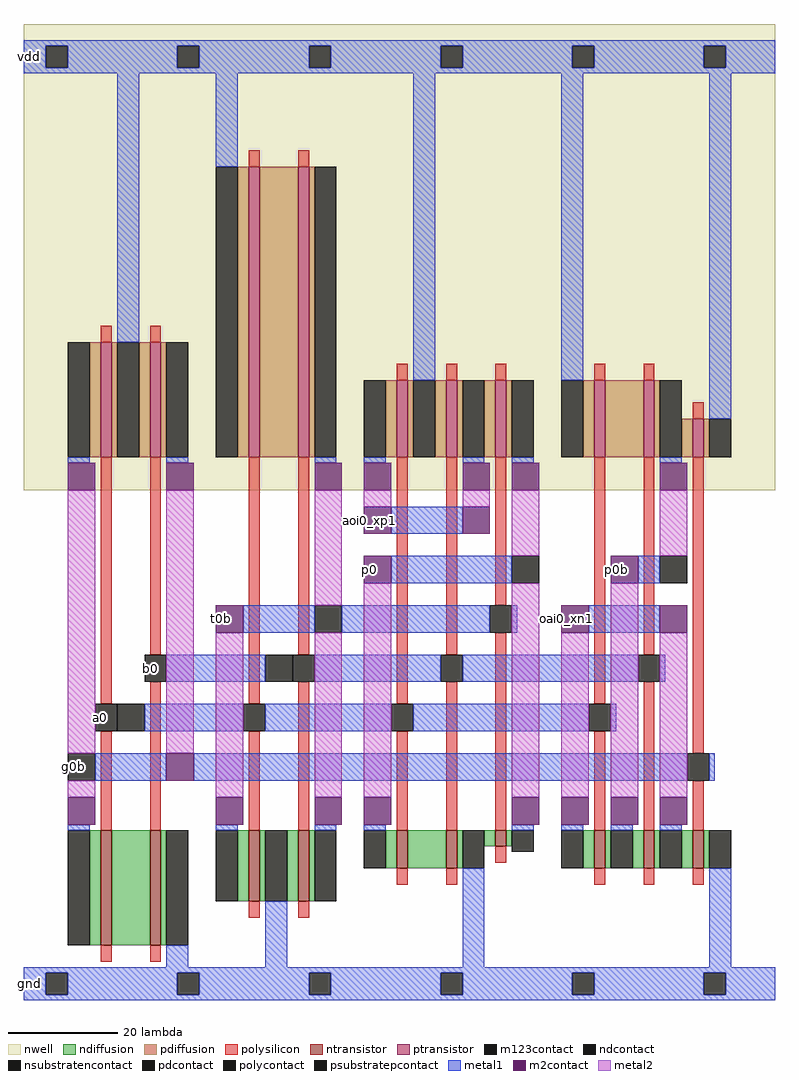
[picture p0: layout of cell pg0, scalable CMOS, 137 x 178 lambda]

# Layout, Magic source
magic
tech scmos
<< nwell >>
rect 0 93 137 178
<< ntransistor >>
rect 14 10 16 31
rect 23 10 25 31
rect 41 18 43 31
rect 50 18 52 31
rect 68 24 70 31
rect 77 24 79 31
rect 86 28 88 31
rect 104 24 106 31
rect 113 24 115 31
rect 122 24 124 31
<< ptransistor >>
rect 14 99 16 120
rect 23 99 25 120
rect 41 99 43 152
rect 50 99 52 152
rect 68 99 70 113
rect 77 99 79 113
rect 86 99 88 113
rect 104 99 106 113
rect 113 99 115 113
rect 122 99 124 106
<< ndiffusion >>
rect 12 10 14 31
rect 16 10 23 31
rect 25 10 26 31
rect 39 18 41 31
rect 43 18 44 31
rect 48 18 50 31
rect 52 18 53 31
rect 66 24 68 31
rect 70 24 77 31
rect 79 24 80 31
rect 84 28 86 31
rect 88 28 89 31
rect 102 24 104 31
rect 106 24 107 31
rect 111 24 113 31
rect 115 24 116 31
rect 120 24 122 31
rect 124 24 125 31
<< pdiffusion >>
rect 12 99 14 120
rect 16 99 17 120
rect 21 99 23 120
rect 25 99 26 120
rect 39 99 41 152
rect 43 99 50 152
rect 52 99 53 152
rect 66 99 68 113
rect 70 99 71 113
rect 75 99 77 113
rect 79 99 80 113
rect 84 99 86 113
rect 88 99 89 113
rect 102 99 104 113
rect 106 99 113 113
rect 115 99 116 113
rect 120 99 122 106
rect 124 99 125 106
<< ndcontact >>
rect 8 10 12 31
rect 26 10 30 31
rect 35 18 39 31
rect 44 18 48 31
rect 53 18 57 31
rect 62 24 66 31
rect 80 24 84 31
rect 89 27 93 31
rect 98 24 102 31
rect 107 24 111 31
rect 116 24 120 31
rect 125 24 129 31
<< pdcontact >>
rect 8 99 12 120
rect 17 99 21 120
rect 26 99 30 120
rect 35 99 39 152
rect 53 99 57 152
rect 62 99 66 113
rect 71 99 75 113
rect 80 99 84 113
rect 89 99 93 113
rect 98 99 102 113
rect 116 99 120 113
rect 125 99 129 106
<< psubstratepcontact >>
rect 4 1 8 5
rect 28 1 32 5
rect 52 1 56 5
rect 76 1 80 5
rect 100 1 104 5
rect 124 1 128 5
<< nsubstratencontact >>
rect 4 170 8 174
rect 28 170 32 174
rect 52 170 56 174
rect 76 170 80 174
rect 100 170 104 174
rect 124 170 128 174
<< polysilicon >>
rect 41 152 43 155
rect 50 152 52 155
rect 14 120 16 123
rect 23 120 25 123
rect 68 113 70 116
rect 77 113 79 116
rect 86 113 88 116
rect 104 113 106 116
rect 113 113 115 116
rect 122 106 124 109
rect 14 54 16 99
rect 23 63 25 99
rect 14 31 16 49
rect 23 31 25 58
rect 41 54 43 99
rect 50 63 52 99
rect 41 31 43 49
rect 50 31 52 58
rect 68 54 70 99
rect 77 63 79 99
rect 86 72 88 99
rect 68 31 70 49
rect 77 31 79 58
rect 86 31 88 67
rect 104 54 106 99
rect 113 63 115 99
rect 104 31 106 49
rect 113 31 115 58
rect 122 45 124 99
rect 122 31 124 40
rect 86 25 88 28
rect 68 21 70 24
rect 77 21 79 24
rect 104 21 106 24
rect 113 21 115 24
rect 122 21 124 24
rect 41 15 43 18
rect 50 15 52 18
rect 14 7 16 10
rect 23 7 25 10
<< polycontact >>
rect 22 58 26 63
rect 13 49 17 54
rect 49 58 53 63
rect 40 49 44 54
rect 85 67 89 72
rect 76 58 80 63
rect 67 49 71 54
rect 112 58 116 63
rect 103 49 107 54
rect 121 40 125 45
<< metal1 >>
rect 0 174 137 175
rect 0 170 4 174
rect 8 170 28 174
rect 32 170 52 174
rect 56 170 76 174
rect 80 170 100 174
rect 104 170 124 174
rect 128 170 137 174
rect 0 169 137 170
rect 17 120 21 169
rect 35 152 39 169
rect 71 113 75 169
rect 98 113 102 169
rect 8 98 12 99
rect 26 98 30 99
rect 53 98 57 99
rect 62 98 66 99
rect 80 98 84 99
rect 125 106 129 169
rect 89 98 93 99
rect 116 98 120 99
rect 67 85 80 90
rect 67 76 89 81
rect 112 76 116 81
rect 40 67 53 72
rect 58 67 85 72
rect 89 67 90 72
rect 103 67 116 72
rect 26 58 44 63
rect 53 58 76 63
rect 80 58 112 63
rect 116 58 117 63
rect 22 49 40 54
rect 44 49 67 54
rect 71 49 103 54
rect 107 49 108 54
rect 13 40 26 45
rect 31 40 121 45
rect 125 40 126 45
rect 8 31 12 32
rect 35 31 39 32
rect 53 31 57 32
rect 62 31 66 32
rect 89 31 93 32
rect 98 31 102 32
rect 107 31 111 32
rect 116 31 120 32
rect 26 6 30 10
rect 44 6 48 18
rect 80 6 84 24
rect 125 6 129 24
rect 0 5 137 6
rect 0 1 4 5
rect 8 1 28 5
rect 32 1 52 5
rect 56 1 76 5
rect 80 1 100 5
rect 104 1 124 5
rect 128 1 137 5
rect 0 0 137 1
<< m2contact >>
rect 8 93 13 98
rect 26 93 31 98
rect 53 93 58 98
rect 62 93 67 98
rect 80 93 85 98
rect 89 93 94 98
rect 116 93 121 98
rect 62 85 67 90
rect 80 85 85 90
rect 62 76 67 81
rect 107 76 112 81
rect 35 67 40 72
rect 98 67 103 72
rect 116 67 121 72
rect 26 40 31 45
rect 8 32 13 37
rect 35 32 40 37
rect 53 32 58 37
rect 62 32 67 37
rect 89 32 94 37
rect 98 32 103 37
rect 107 32 112 37
rect 116 32 121 37
<< metal2 >>
rect 8 45 13 93
rect 26 45 31 93
rect 53 72 58 93
rect 62 90 67 93
rect 80 90 85 93
rect 89 81 94 93
rect 116 81 121 93
rect 8 37 13 40
rect 35 37 40 67
rect 53 37 58 67
rect 62 37 67 76
rect 89 37 94 76
rect 98 37 103 67
rect 107 37 112 76
rect 116 37 121 67
<< m123contact >>
rect 17 49 22 54
rect 8 40 13 45
rect 53 67 58 72
rect 44 58 49 63
rect 89 76 94 81
rect 116 76 121 81
<< labels >>
rlabel metal1 13 49 15 54 0 a0
port 1 nsew
rlabel metal1 22 58 24 63 0 b0
port 2 nsew
rlabel metal1 8 40 10 45 0 g0b
port 3 nsew
rlabel m2contact 62 76 64 81 0 p0
port 4 nsew
rlabel m2contact 107 76 109 81 0 p0b
port 5 nsew
rlabel m2contact 35 67 37 72 0 t0b
port 6 nsew
rlabel m2contact 62 85 64 90 0 aoi0_xp1
rlabel m2contact 98 67 100 72 0 oai0_xn1
rlabel metal1 0 169 2 175 0 vdd
port 7 nsew
rlabel metal1 0 0 2 6 0 gnd
port 8 nsew
<< end >>
